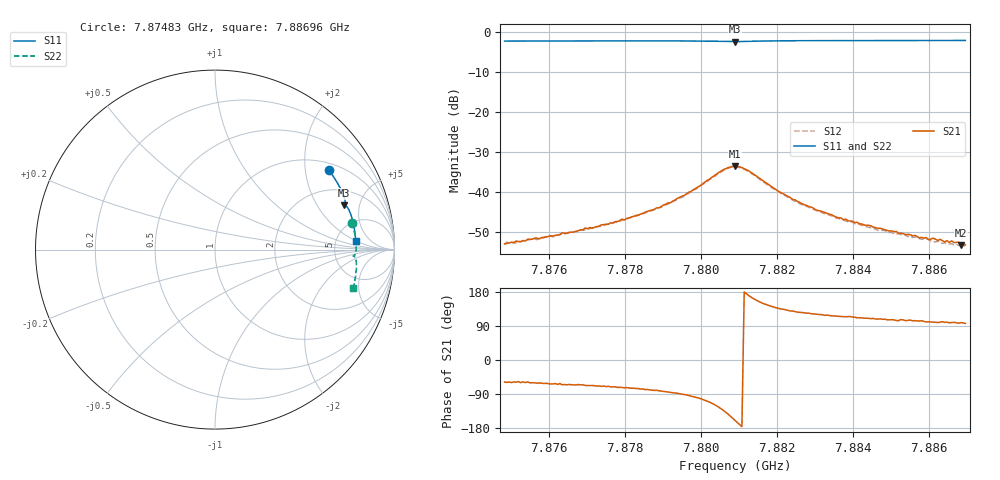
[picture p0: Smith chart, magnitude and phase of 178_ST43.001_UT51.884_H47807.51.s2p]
#  HZ  S  DB  R  50.00
! Rohde & Schwarz Vector Network Analyzer
! Rohde-Schwarz,ZNB20-2Port,1311601062101988,3.16
! Created: UTC 1/12/2023, 6:42:35 PM
! freq[Hz]  db:S11  ang:S11  db:S21  ang:S21  db:S12  ang:S12  db:S22  ang:S22
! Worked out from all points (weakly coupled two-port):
!   201 points, 7.87483 GHz to 7.88696 GHz, reference 50 ohm
!   highest |S21| = -33.49 dB at 7.88089 GHz (marker M1); lowest = -53.2 dB at 7.88684 GHz (marker M2)
!   lowest |S11| = -2.4 dB at 7.88089 GHz (marker M3), VSWR 7.39, Z = 151 + j178 ohm
!   |S11| at or under -10 dB: nowhere
!   |S22| runs from -2.3 to -1.9 dB; largest |S21 - S12| = 0.0014
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7.874829e9  -2.24 34.9  -52.85 -58.0  -52.97 -59.9  -2.18 11.1
7.87489e9  -2.24 34.8  -52.74 -59.1  -52.39 -61.8  -2.18 10.9
7.875679e9  -2.22 32.6  -51.43 -61.2  -51.83 -63.6  -2.16 9.0
7.875982e9  -2.22 31.8  -50.98 -62.2  -50.79 -65.4  -2.14 8.3
7.876103e9  -2.22 31.4  -50.89 -63.0  -51.11 -66.0  -2.14 8.0
7.876892e9  -2.20 29.3  -49.31 -65.4  -49.44 -68.7  -2.12 6.1
7.877983e9  -2.19 26.3  -46.89 -73.4  -46.81 -76.8  -2.10 3.6
7.878893e9  -2.18 23.8  -43.85 -81.3  -43.82 -84.2  -2.08 1.4
7.8795e9  -2.20 22.0  -40.96 -90.3  -41.23 -93.8  -2.09 -0.1
7.880591e9  -2.33 19.1  -34.31 -133.1  -34.54 -136.7  -2.22 -2.6
7.880895e9  -2.36 18.9  -33.49 -159.4  -33.70 -162.5  -2.26 -2.6
7.881137e9  -2.33 18.8  -34.10 179.4  -34.23 176.0  -2.23 -2.6
7.882411e9  -2.16 15.5  -41.76 129.4  -41.94 125.5  -2.04 -5.4
7.882957e9  -2.14 14.0  -43.90 121.8  -44.23 118.0  -2.01 -6.6
7.883745e9  -2.12 11.8  -46.80 114.5  -46.86 111.2  -1.99 -8.5
7.884959e9  -2.10 8.6  -49.66 106.1  -50.03 102.8  -1.97 -11.1
7.88599e9  -2.09 5.9  -51.80 101.0  -51.71 98.7  -1.95 -13.4
7.886111e9  -2.09 5.6  -51.43 100.0  -52.32 98.2  -1.96 -13.7
7.886414e9  -2.09 4.8  -52.36 99.3  -52.55 95.0  -1.95 -14.3
7.886778e9  -2.09 3.8  -52.39 96.8  -53.24 95.6  -1.94 -15.1
7.886839e9  -2.08 3.7  -53.20 98.6  -53.30 94.5  -1.94 -15.3
7.88696e9  -2.09 3.4  -53.07 96.3  -53.43 95.0  -1.94 -15.5
